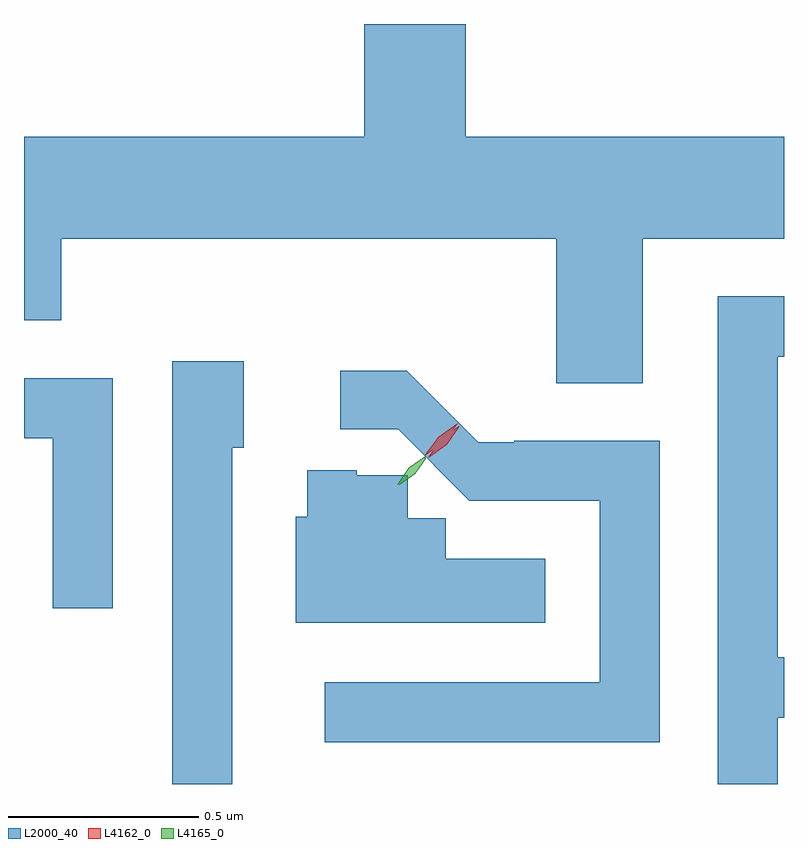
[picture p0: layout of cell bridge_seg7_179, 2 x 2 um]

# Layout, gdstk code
import gdstk
lib = gdstk.Library(unit=1e-6, precision=1e-09)
def P(c, l, *ps):  # polygons
    for p in ps: c.add(gdstk.Polygon(p, *l))
L2000_40 = (2000, 40)
L4162_0 = (4162, 0)
L4165_0 = (4165, 0)

bridge_seg7_179 = lib.new_cell('bridge_seg7_179')
P(bridge_seg7_179, L2000_40, [(1534.489,1734.296),(1534.861,1734.296),(1534.861,1734.564),(1534.024,1734.564),(1534.024,1734.861),(1533.756,1734.861),(1533.756,1734.564),(1532.861,1734.564),(1532.861,1734.081),(1532.959,1734.081),(1532.959,1734.296),(1534.261,1734.296),(1534.261,1733.916),(1534.489,1733.916)],
  [(1534.844,1733.036),(1534.861,1733.036),(1534.861,1733.194),(1534.844,1733.194),(1534.844,1733.986),(1534.861,1733.986),(1534.861,1734.144),(1534.686,1734.144),(1534.686,1732.861),(1534.844,1732.861)],
  [(1533.409,1733.746),(1533.439,1733.746),(1533.439,1733.974),(1533.251,1733.974),(1533.251,1732.861),(1533.409,1732.861)],
  [(1534.534,1733.764),(1534.151,1733.764),(1534.151,1733.761),(1534.056,1733.761),(1533.868,1733.949),(1533.693,1733.949),(1533.693,1733.794),(1533.846,1733.794),(1534.033,1733.607),(1534.121,1733.607),(1534.121,1733.606),(1534.376,1733.606),(1534.376,1733.129),(1533.653,1733.129),(1533.653,1732.971),(1534.534,1732.971)],
  [(1533.094,1733.929),(1532.861,1733.929),(1532.861,1733.771),(1532.936,1733.771),(1532.936,1733.323),(1533.094,1733.323)],
  [(1534.233,1733.454),(1533.971,1733.454),(1533.971,1733.56),(1533.871,1733.56),(1533.871,1733.673),(1533.736,1733.673),(1533.736,1733.687),(1533.606,1733.687),(1533.606,1733.564),(1533.576,1733.564),(1533.576,1733.286),(1534.233,1733.286)])
P(bridge_seg7_179, L4162_0, [(1533.916,1733.725),(1533.916,1733.726),(1533.952,1733.775),(1534.002,1733.811),(1534.002,1733.811),(1534.002,1733.81),(1533.966,1733.761),(1533.916,1733.725)],
  [(1533.926,1733.721),(1533.926,1733.722),(1533.959,1733.769),(1534.005,1733.802),(1534.006,1733.802),(1534.006,1733.801),(1533.974,1733.754),(1533.927,1733.721)])
P(bridge_seg7_179, L4165_0, [(1533.844,1733.649),(1533.844,1733.65),(1533.874,1733.693),(1533.917,1733.723),(1533.918,1733.723),(1533.918,1733.722),(1533.888,1733.679),(1533.845,1733.649)],
  [(1533.849,1733.649),(1533.849,1733.65),(1533.877,1733.691),(1533.917,1733.718),(1533.918,1733.718),(1533.918,1733.717),(1533.891,1733.677),(1533.85,1733.649)])

lib.write_gds('bridge_seg7_179.gds')
